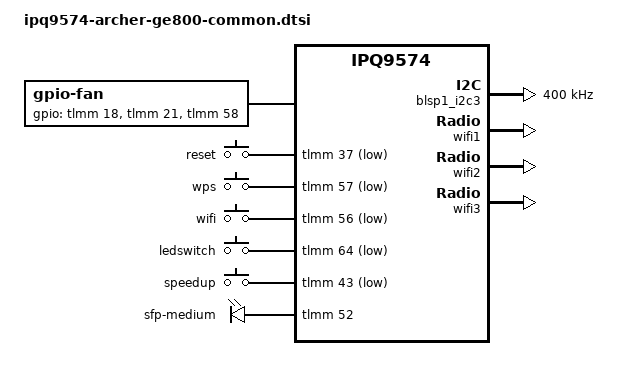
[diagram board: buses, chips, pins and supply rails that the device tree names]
// SPDX-License-Identifier: (GPL-2.0+ OR BSD-3-Clause)
/*
 * TP-Link Archer GE800 common: what differs from the BE800
 */

#include "ipq9574-archer-be800-common.dtsi"

/ {
	aliases {
		i2c0 = &blsp1_i2c3;
		i2c1 = &blsp1_i2c4;
	};

	/*
	 * Two fans share three active-low voltage selects (GPIO 18, 21, 58).
	 * Stock levels: all high = off, then 18 low, 18+58 low, 18+21 low.
	 * Bit n of each speed-map value is gpios[n]. RPMs are unknown.
	 */
	fan: gpio-fan {
		compatible = "gpio-fan";
		pinctrl-0 = <&fan_vctl_default>;
		pinctrl-names = "default";
		gpios = <&tlmm 18 GPIO_ACTIVE_HIGH>,
			<&tlmm 21 GPIO_ACTIVE_HIGH>,
			<&tlmm 58 GPIO_ACTIVE_HIGH>;
		gpio-fan,speed-map = <0 7>, <1 6>, <2 2>, <3 4>;
		#cooling-cells = <2>;
	};

	/* Stock fan thresholds: 10G PHY 85/100/115 C, CPU 90/105/115 C */
	thermal-zones {
		phy-combo-thermal {
			polling-delay-passive = <5000>;
			polling-delay = <10000>;
			thermal-sensors = <&phy5 0>;

			trips {
				phy_combo_fan1: phy-fan1 {
					temperature = <85000>;
					hysteresis = <4000>;
					type = "active";
				};

				phy_combo_fan2: phy-fan2 {
					temperature = <100000>;
					hysteresis = <4000>;
					type = "active";
				};

				phy_combo_fan3: phy-fan3 {
					temperature = <115000>;
					hysteresis = <4000>;
					type = "active";
				};
			};

			cooling-maps {
				map0 {
					trip = <&phy_combo_fan1>;
					cooling-device = <&fan 1 1>;
				};

				map1 {
					trip = <&phy_combo_fan2>;
					cooling-device = <&fan 2 2>;
				};

				map2 {
					trip = <&phy_combo_fan3>;
					cooling-device = <&fan 3 3>;
				};
			};
		};

		phy-10g-thermal {
			polling-delay-passive = <5000>;
			polling-delay = <10000>;
			thermal-sensors = <&phy4 0>;

			trips {
				phy_10g_fan1: phy-fan1 {
					temperature = <85000>;
					hysteresis = <4000>;
					type = "active";
				};

				phy_10g_fan2: phy-fan2 {
					temperature = <100000>;
					hysteresis = <4000>;
					type = "active";
				};

				phy_10g_fan3: phy-fan3 {
					temperature = <115000>;
					hysteresis = <4000>;
					type = "active";
				};
			};

			cooling-maps {
				map0 {
					trip = <&phy_10g_fan1>;
					cooling-device = <&fan 1 1>;
				};

				map1 {
					trip = <&phy_10g_fan2>;
					cooling-device = <&fan 2 2>;
				};

				map2 {
					trip = <&phy_10g_fan3>;
					cooling-device = <&fan 3 3>;
				};
			};
		};

		cpu3-thermal {
			trips {
				cpu3_fan1: cpu-fan1 {
					temperature = <90000>;
					hysteresis = <4000>;
					type = "active";
				};

				cpu3_fan2: cpu-fan2 {
					temperature = <105000>;
					hysteresis = <4000>;
					type = "active";
				};
			};

			cooling-maps {
				map1 {
					trip = <&cpu3_fan1>;
					cooling-device = <&fan 1 1>;
				};

				map2 {
					trip = <&cpu3_fan2>;
					cooling-device = <&fan 2 2>;
				};
			};
		};
	};

	/delete-node/ gpio-keys;

	gpio-keys {
		compatible = "gpio-keys";
		pinctrl-0 = <&gpio_keys_default>;
		pinctrl-names = "default";

		button-reset {
			label = "reset";
			linux,code = <KEY_RESTART>;
			gpios = <&tlmm 37 GPIO_ACTIVE_LOW>;
			debounce-interval = <60>;
		};

		button-wps {
			label = "wps";
			linux,code = <KEY_WPS_BUTTON>;
			gpios = <&tlmm 57 GPIO_ACTIVE_LOW>;
			debounce-interval = <60>;
		};

		button-wifi {
			label = "wifi";
			linux,code = <KEY_RFKILL>;
			gpios = <&tlmm 56 GPIO_ACTIVE_LOW>;
			debounce-interval = <60>;
		};

		button-led {
			label = "ledswitch";
			linux,code = <KEY_LIGHTS_TOGGLE>;
			gpios = <&tlmm 64 GPIO_ACTIVE_LOW>;
			debounce-interval = <60>;
		};

		button-speedup {
			label = "speedup";
			linux,code = <BTN_0>;
			gpios = <&tlmm 43 GPIO_ACTIVE_LOW>;
			debounce-interval = <60>;
		};
	};

	leds {
		/delete-property/ pinctrl-0;
		/delete-property/ pinctrl-names;

		/* Combo port medium select: off = RJ45, on = SFP+. */
		sfp-medium {
			gpios = <&tlmm 52 GPIO_ACTIVE_HIGH>;
			/delete-property/ default-state;
		};
	};
};

&blsp1_i2c3 {
	clock-frequency = <400000>;
};

/delete-node/ &gpio_leds_default;


&tlmm {
	/* Start with the fans off: gpio-fan needs a speed-map state at probe */
	fan_vctl_default: fan-vctl-state {
		pins = "gpio18", "gpio21", "gpio58";
		function = "gpio";
		drive-strength = <2>;
		bias-disable;
		output-high;
	};
};

&gpio_keys_default {
	pins = "gpio37", "gpio43", "gpio56", "gpio57", "gpio64";
};

&wifi1 {
	qcom,calibration-variant = "TPLink_Archer_GE800_1";
};

&wifi2 {
	qcom,calibration-variant = "TPLink_Archer_GE800_4";
};

&wifi3 {
	qcom,calibration-variant = "TPLink_Archer_GE800_2";
};

&port1 {
	label = "lan2";
};

&port2 {
	label = "lan1";
};

&port3 {
	label = "lan4";
};

&port4 {
	label = "lan3";
};

&phy4 {
	#thermal-sensor-cells = <1>;
};

&phy5 {
	#thermal-sensor-cells = <1>;
};
